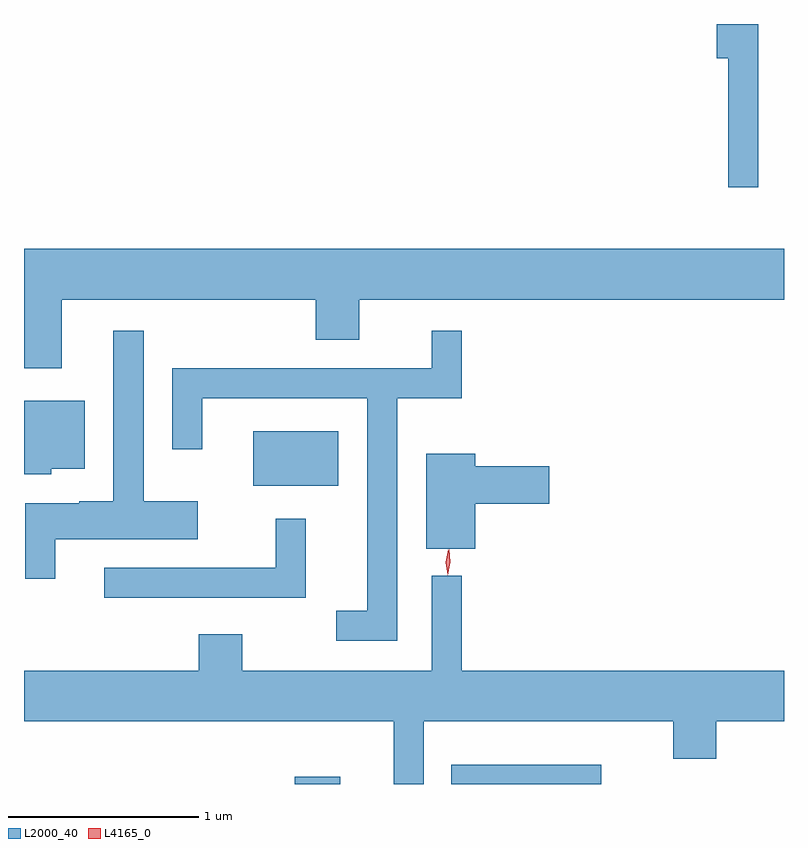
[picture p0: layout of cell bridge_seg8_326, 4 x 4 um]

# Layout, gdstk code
import gdstk
lib = gdstk.Library(unit=1e-6, precision=1e-09)
def R(c, l, rs):  # rectangles x0, y0, x1, y1
    for r in rs: c.add(gdstk.rectangle(r[:2], r[2:], *l))
def P(c, l, *ps):  # polygons
    for p in ps: c.add(gdstk.Polygon(p, *l))
L2000_40 = (2000, 40)
L4165_0 = (4165, 0)

bridge_seg8_326 = lib.new_cell('bridge_seg8_326')
R(bridge_seg8_326, L2000_40, [(870.196,1882.707,870.434,1882.744), (871.018,1882.707,871.809,1882.809), (869.976,1884.276,870.424,1884.564)])
P(bridge_seg8_326, L2000_40, [(872.634,1886.707),(872.416,1886.707),(872.416,1886.526),(872.476,1886.526),(872.476,1885.848),(872.634,1885.848)],
  [(868.969,1885.256),(870.306,1885.256),(870.306,1885.046),(870.534,1885.046),(870.534,1885.256),(872.77,1885.256),(872.77,1885.524),(868.77,1885.524),(868.77,1884.896),(868.969,1884.896)],
  [(870.734,1884.736),(871.074,1884.736),(871.074,1885.093),(870.916,1885.093),(870.916,1884.894),(869.551,1884.894),(869.551,1884.468),(869.709,1884.468),(869.709,1884.736),(870.576,1884.736),(870.576,1883.619),(870.413,1883.619),(870.413,1883.461),(870.734,1883.461)],
  [(868.934,1883.996),(869.684,1883.996),(869.684,1884.194),(869.399,1884.194),(869.399,1885.093),(869.241,1885.093),(869.241,1884.194),(869.06,1884.194),(869.06,1884.184),(868.776,1884.184),(868.776,1883.788),(868.934,1883.788)],
  [(868.914,1884.366),(869.089,1884.366),(869.089,1884.724),(868.77,1884.724),(868.77,1884.336),(868.914,1884.336)],
  [(871.144,1884.181),(871.534,1884.181),(871.534,1884.379),(871.144,1884.379),(871.144,1884.444),(870.886,1884.444),(870.886,1883.946),(871.144,1883.946)],
  [(870.254,1884.103),(870.096,1884.103),(870.096,1883.844),(869.193,1883.844),(869.193,1883.686),(870.254,1883.686)],
  [(870.874,1883.036),(872.186,1883.036),(872.186,1882.841),(872.414,1882.841),(872.414,1883.036),(872.77,1883.036),(872.77,1883.304),(871.074,1883.304),(871.074,1883.803),(870.916,1883.803),(870.916,1883.304),(869.919,1883.304),(869.919,1883.494),(869.691,1883.494),(869.691,1883.304),(868.77,1883.304),(868.77,1883.036),(870.716,1883.036),(870.716,1882.707),(870.874,1882.707)])
P(bridge_seg8_326, L4165_0, [(870.999,1883.808),(870.999,1883.808),(870.991,1883.874),(871.002,1883.939),(871.002,1883.939),(871.003,1883.939),(871.011,1883.874),(871,1883.808)],
  [(870.999,1883.805),(870.999,1883.805),(870.993,1883.874),(871.007,1883.942),(871.007,1883.942),(871.008,1883.942),(871.013,1883.873),(871,1883.805)])

lib.write_gds('bridge_seg8_326.gds')
